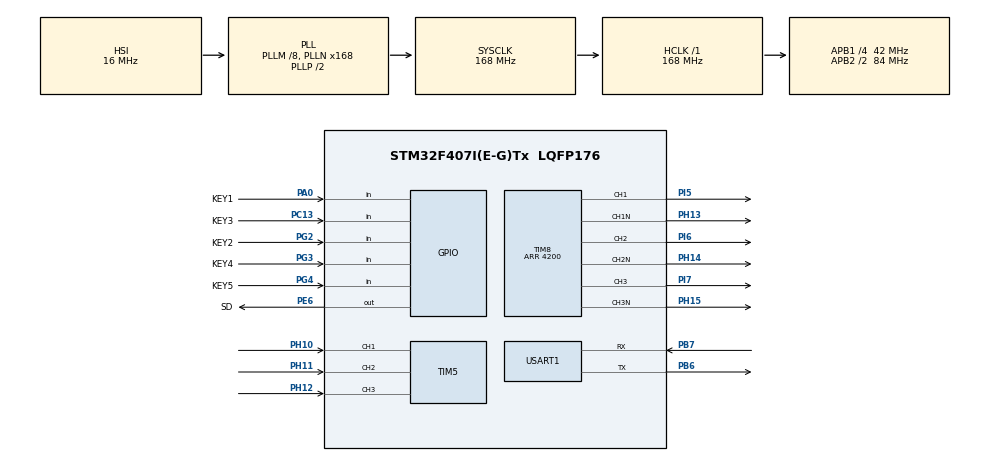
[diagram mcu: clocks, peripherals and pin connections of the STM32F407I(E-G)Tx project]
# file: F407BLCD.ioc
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Mcu.Family=STM32F4
Mcu.Name=STM32F407I(E-G)Tx
Mcu.Package=LQFP176
NVIC.PriorityGroup=NVIC_PRIORITYGROUP_4
NVIC.TIM5_IRQn=true\:0\:0\:false\:false\:true\:true\:true\:true
NVIC.TIM6_DAC_IRQn=true\:0\:0\:false\:false\:true\:true\:true\:true
PA0-WKUP.GPIO_Label=KEY1
PA0-WKUP.Signal=GPIO_Input
PA13.Mode=Serial_Wire
PA13.Signal=SYS_JTMS-SWDIO
PA14.Mode=Serial_Wire
PA14.Signal=SYS_JTCK-SWCLK
PB6.Mode=Asynchronous
PB6.Signal=USART1_TX
PB7.Mode=Asynchronous
PB7.Signal=USART1_RX
PC13-ANTI_TAMP.GPIO_Label=KEY3
PC13-ANTI_TAMP.Signal=GPIO_Input
PE6.GPIO_Label=SD
PE6.Signal=GPIO_Output
PG2.GPIO_Label=KEY2
PG2.Signal=GPIO_Input
PG3.GPIO_Label=KEY4
PG3.Signal=GPIO_Input
PG4.GPIO_Label=KEY5
PG4.Signal=GPIO_Input
PH0-OSC_IN.Mode=HSE-External-Oscillator
PH0-OSC_IN.Signal=RCC_OSC_IN
PH1-OSC_OUT.Mode=HSE-External-Oscillator
PH1-OSC_OUT.Signal=RCC_OSC_OUT
PH10.Signal=S_TIM5_CH1
PH11.Signal=S_TIM5_CH2
PH12.Signal=S_TIM5_CH3
PH13.Mode=PWM Generation1 CH1 CH1N
PH13.Signal=TIM8_CH1N
PH14.Mode=PWM Generation2 CH2 CH2N
PH14.Signal=TIM8_CH2N
PH15.Mode=PWM Generation3 CH3 CH3N
PH15.Signal=TIM8_CH3N
PI5.Signal=S_TIM8_CH1
PI6.Signal=S_TIM8_CH2
PI7.Signal=S_TIM8_CH3
ProjectManager.HeapSize=0x200
ProjectManager.StackSize=0x400
ProjectManager.TargetToolchain=MDK-ARM V5.32
RCC.48MHZClocksFreq_Value=84000000
RCC.AHBFreq_Value=168000000
RCC.APB1CLKDivider=RCC_HCLK_DIV4
RCC.APB1Freq_Value=42000000
RCC.APB1TimFreq_Value=84000000
RCC.APB2CLKDivider=RCC_HCLK_DIV2
RCC.APB2Freq_Value=84000000
RCC.APB2TimFreq_Value=168000000
RCC.CortexFreq_Value=168000000
RCC.HCLKFreq_Value=168000000
RCC.HSE_VALUE=25000000
RCC.HSI_VALUE=16000000
RCC.LSE_VALUE=32768
RCC.PLLM=8
RCC.PLLN=168
RCC.SYSCLKFreq_VALUE=168000000
RCC.SYSCLKSource=RCC_SYSCLKSOURCE_PLLCLK
RCC.VCOOutputFreq_Value=336000000
SH.S_TIM5_CH1.0=TIM5_CH1,Xored_Inputs_Hall_Sensor_Interface
SH.S_TIM5_CH2.0=TIM5_CH2,Xored_Inputs_Hall_Sensor_Interface
SH.S_TIM5_CH3.0=TIM5_CH3,Xored_Inputs_Hall_Sensor_Interface
SH.S_TIM8_CH1.0=TIM8_CH1,PWM Generation1 CH1 CH1N
SH.S_TIM8_CH2.0=TIM8_CH2,PWM Generation2 CH2 CH2N
SH.S_TIM8_CH3.0=TIM8_CH3,PWM Generation3 CH3 CH3N
TIM8.Channel-PWM\ Generation1\ CH1\ CH1N=TIM_CHANNEL_1
TIM8.Channel-PWM\ Generation2\ CH2\ CH2N=TIM_CHANNEL_2
TIM8.Channel-PWM\ Generation3\ CH3\ CH3N=TIM_CHANNEL_3
TIM8.Period=4200
USART1.VirtualMode=VM_ASYNC
VP_TIM6_VS_ClockSourceINT.Mode=Enable_Timer
VP_TIM8_VS_ClockSourceINT.Mode=Internal
board=custom

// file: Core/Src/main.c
/* USER CODE BEGIN Header */
/**
  ******************************************************************************
  * @file           : main.c
  * @brief          : Main program body
  ******************************************************************************
  * @attention
  *
  * Copyright (c) 2023 STMicroelectronics.
  * All rights reserved.
  *
  * This software is licensed under terms that can be found in the LICENSE file
  * in the root directory of this software component.
  * If no LICENSE file comes with this software, it is provided AS-IS.
  *
  ******************************************************************************
  */
/* USER CODE END Header */
#include "main.h"
#include "tim.h"
#include "usart.h"
#include "gpio.h"

/* USER CODE BEGIN Includes */
#include "hall.h"
#include "motor.h"
#include "stdio.h"
#include <math.h>

#define TIMECNT   800

uint8_t i = 0;

float MotorSpeed  = 0.0f ;// 电机转速,这里是占空比,
_Bool isTimeUp    = 0;     // 计时标记
uint32_t timeTick = 0;   // 计时标记
float Speed_hz    = 0 ;

extern MotorSta_Typedef Motor_State; // 电机使能状态
extern MotorDir_Typedef Motor_Dir;  // 电机方向 ,顺时针
extern float PWM_Duty;        // 25%占空比

extern MotorDir_Typedef RT_hallDir; // 霍尔顺序得到的电机转动方向

/* USER CODE END Includes */

void SystemClock_Config(void);

int main(void)
{

  /* MCU Configuration--------------------------------------------------------*/

  /* Reset of all peripherals, Initializes the Flash interface and the Systick. */
  HAL_Init();

  /* Configure the system clock */
  SystemClock_Config();

  /* Initialize all configured peripherals */
  MX_GPIO_Init();
  MX_TIM5_Init();
  MX_TIM8_Init();
  MX_TIM6_Init();
  MX_USART1_UART_Init();
  /* USER CODE BEGIN 2 */
    Motor_Dir = MOTOR_DIR_CW;
//	MotorSpeed = 0.50f;
//    BLDCMotor_SetSpeed(MotorSpeed);
//    BLDCMotor_Start();
  /* USER CODE END 2 */

  /* Infinite loop */
  while (1)
  {

    /* USER CODE BEGIN 3 */
	   //启动电机设置占空比15%
	if(Key_Scan(KEY1_GPIO_Port,KEY1_Pin) == KEY_ON)
	{
	  MotorSpeed = 0.15f;
      BLDCMotor_SetSpeed(MotorSpeed);
      BLDCMotor_Start();
      printf("按键KEY1启动电机\n");
	}

	//增大占空比
	if( Key_Scan(KEY2_GPIO_Port,KEY2_Pin) == KEY_ON)
	{
		MotorSpeed += 0.05f;
      BLDCMotor_SetSpeed(MotorSpeed);
      printf("电机加速\n");
	}

	//减小占空比
	if( Key_Scan(KEY3_GPIO_Port,KEY3_Pin) == KEY_ON)
	{
		 MotorSpeed -= 0.05f;
      BLDCMotor_SetSpeed(MotorSpeed);
      printf("电机减速\n");
	}

	//控制电机方向
	if( Key_Scan(KEY4_GPIO_Port,KEY4_Pin) == KEY_ON)
	{
		/* 必须先停止,然后再启动 */
      if(Motor_State == MOTOR_DISABLE)
      {
        if(Motor_Dir == MOTOR_DIR_CW)
          Motor_Dir = MOTOR_DIR_CCW;
        else
          Motor_Dir = MOTOR_DIR_CW;
        printf("需要重新启动电机\n");
      }
      else
        printf("电机更换方向,必须先停止\n");
	}

	//停止电机
	if( Key_Scan(KEY5_GPIO_Port,KEY5_Pin) == KEY_ON)
	{
	  BLDCMotor_braking_LowerShort();
      HAL_Delay(100);// 等100ms, 电机停下来之后才取消刹车控制
      BLDCMotor_unbraking_LS();
      printf("刹车停止\n");
	}

//	if( isTimeUp )
//    {
//      /* 捕获得到的霍尔信号频率 */
//      if( RT_hallcomp == 0 )
//        Speed_hz = 0;
//      else
//        Speed_hz = (float)(HALL_TIM_FREQ)/(float)(RT_hallcomp);
//      RT_hallcomp = 0;
//
//      /* 霍尔信号的频率,转速rps,转速rpm */
//      printf("%.3f Hz, %.2f RPS, %.2fRPM\n",Speed_hz, Speed_hz/24, (Speed_hz/24)*60);

//      isTimeUp = 0;
//      timeTick = TIMECNT;
//    }

	if( isTimeUp )
    {
      uint32_t tmpCC = 0;
      if(RT_hallcnt == 0) // 避免除数为0
      {
        Speed_hz = 0;
      }
      else
      {
        tmpCC = RT_hallcomp / RT_hallcnt; // tmpCC:两次捕获之间的捕获值,
        Speed_hz = (float)HALL_TIM_FREQ/(float)(tmpCC);
      }
      RT_hallcomp = 0;
      RT_hallcnt  = 0;
      /* 霍尔信号的频率,转速rps,转速rpm */
      if(RT_hallDir == MOTOR_DIR_CW)
        Speed_hz = fabs(Speed_hz);
      else
        Speed_hz = -fabs(Speed_hz);
      /* 未做任何滤波的速度值 */
      printf("%.3f Hz, %.2f RPS, %.2fRPM\n", Speed_hz, Speed_hz/24, (Speed_hz/24)*60);

      isTimeUp = 0;
      timeTick = TIMECNT;
    }
  }
  /* USER CODE END 3 */
}

void SystemClock_Config(void)
{
  RCC_OscInitTypeDef RCC_OscInitStruct = {0};
  RCC_ClkInitTypeDef RCC_ClkInitStruct = {0};

  /** Configure the main internal regulator output voltage
  */
  __HAL_RCC_PWR_CLK_ENABLE();
  __HAL_PWR_VOLTAGESCALING_CONFIG(PWR_REGULATOR_VOLTAGE_SCALE1);

  /** Initializes the RCC Oscillators according to the specified parameters
  * in the RCC_OscInitTypeDef structure.
  */
  RCC_OscInitStruct.OscillatorType = RCC_OSCILLATORTYPE_HSI;
  RCC_OscInitStruct.HSIState = RCC_HSI_ON;
  RCC_OscInitStruct.HSICalibrationValue = RCC_HSICALIBRATION_DEFAULT;
  RCC_OscInitStruct.PLL.PLLState = RCC_PLL_ON;
  RCC_OscInitStruct.PLL.PLLSource = RCC_PLLSOURCE_HSI;
  RCC_OscInitStruct.PLL.PLLM = 8;
  RCC_OscInitStruct.PLL.PLLN = 168;
  RCC_OscInitStruct.PLL.PLLP = RCC_PLLP_DIV2;
  RCC_OscInitStruct.PLL.PLLQ = 4;
  if (HAL_RCC_OscConfig(&RCC_OscInitStruct) != HAL_OK)
  {
    Error_Handler();
  }

  /** Initializes the CPU, AHB and APB buses clocks
  */
  RCC_ClkInitStruct.ClockType = RCC_CLOCKTYPE_HCLK|RCC_CLOCKTYPE_SYSCLK
                              |RCC_CLOCKTYPE_PCLK1|RCC_CLOCKTYPE_PCLK2;
  RCC_ClkInitStruct.SYSCLKSource = RCC_SYSCLKSOURCE_PLLCLK;
  RCC_ClkInitStruct.AHBCLKDivider = RCC_SYSCLK_DIV1;
  RCC_ClkInitStruct.APB1CLKDivider = RCC_HCLK_DIV4;
  RCC_ClkInitStruct.APB2CLKDivider = RCC_HCLK_DIV2;

  if (HAL_RCC_ClockConfig(&RCC_ClkInitStruct, FLASH_LATENCY_5) != HAL_OK)
  {
    Error_Handler();
  }
  HAL_RCC_EnableCSS();                                            // 使能CSS功能，优先使用外部晶振，内部时钟源为备用
  // HAL_RCC_GetHCLKFreq()/1000    1ms中断一次
  // HAL_RCC_GetHCLKFreq()/100000	 10us中断一次
  // HAL_RCC_GetHCLKFreq()/1000000 1us中断一次
  HAL_SYSTICK_Config(HAL_RCC_GetHCLKFreq() / 1000);               // 配置并启动系统滴答定时器
  /* 系统滴答定时器时钟源 */
  HAL_SYSTICK_CLKSourceConfig(SYSTICK_CLKSOURCE_HCLK);
  /* 系统滴答定时器中断优先级配置 */
  HAL_NVIC_SetPriority(SysTick_IRQn, 0, 0);
}

/* USER CODE BEGIN 4 */
void HAL_SYSTICK_Callback()
{
  if(timeTick != 0)
    timeTick--;
  if(timeTick == 0)
  {
    isTimeUp = 1;
  }
}
/* USER CODE END 4 */

void Error_Handler(void)
{
  __disable_irq();
  while (1)
  {
  }
}
